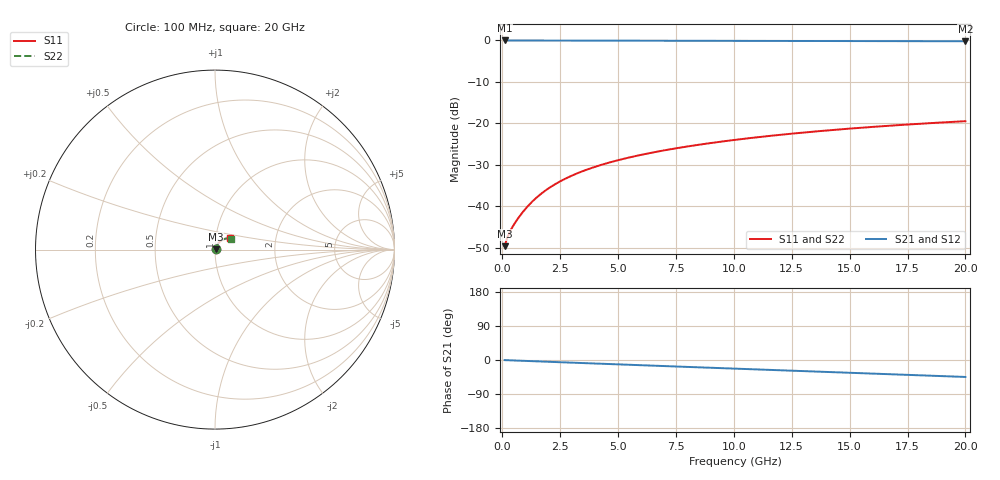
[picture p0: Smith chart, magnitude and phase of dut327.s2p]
! Touchstone file exported from HFSS 2026.1.0
!  File:  C:/ffzhzh/LocalFiles/Ansys_Project_Files/temp_train_BSMRDL_327_1783010943_55676.aedt
!  Generated:  12:50:25 AM Jul  3, 2026
!  Design:  BSMRDL
!  Project:  temp_train_BSMRDL_327_1783010943_55676
! Variables:
!  h_bsmrdl = 5.48um
!  h_ox = 20um
!  h_rdl = 5um
!  h_sub = 80um
!  h_tmrdl = 5um
!  h_tsv = 80um
!  h_via = 3um
!  l_bsmrdl = 803.99um
!  l_sub = 1203.99um
!  l_tmrdl = 200um
!  m_sub = 200um
!  pitch = 25.64um
!  r_tsv = 6um
!  s_tmrdl = 10um
!  w_bsmrdl = 18.4um
!  w_sub = 500um
!  w_tmrdl = 12um
!  x_tsv_center1 = 206um
!  x_tsv_center2 = 1028.39um
!  x_tsv_center3 = 1240.39um
!  x_tsv_center4 = 2062.78um
!  x_tsv_center5 = 2274.78um
!  x_tsv_center6 = 3097.17um
# GHz S MA R 50.000000
! Terminal data exported
! Port[1] = BSM_RDL1_1_T1
! Port[2] = BSM_RDL1_1_T2
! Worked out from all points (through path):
!   200 points, 100 MHz to 20 GHz, reference 50 ohm
!   highest |S21| = -0.03 dB at 100 MHz (marker M1); lowest = -0.2 dB at 20 GHz (marker M2)
!   group delay of S21, straight-line fit = 6.18 ps
!   lowest |S11| = -49.6 dB at 100 MHz (marker M3), VSWR 1.01, Z = 50.3 + j0.125 ohm
!   |S11| at or under -10 dB: start of sweep to end of sweep
!   |S22| runs from -49.6 to -19.5 dB; largest |S21 - S12| = 2.2e-15
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0.1  0.003306 22.0  0.9969 -0.3  0.9969 -0.3  0.003306 22.0
! Gamma 0 0 0 0
! Port Impedance 50 0 50 0
0.2  0.004069 32.6  0.9966 -0.5  0.9966 -0.5  0.004069 32.6
0.3  0.004758 38.6  0.9963 -0.7  0.9963 -0.7  0.004758 38.6
0.5  0.006003 47.0  0.996 -1.2  0.996 -1.2  0.006003 47.0
0.7  0.007277 53.1  0.9958 -1.7  0.9958 -1.7  0.007278 53.1
0.9  0.008621 57.4  0.9956 -2.1  0.9956 -2.1  0.008622 57.4
1.3  0.01144 62.5  0.9952 -3.1  0.9952 -3.1  0.01144 62.5
1.5  0.01288 63.9  0.995 -3.5  0.995 -3.5  0.01288 63.9
1.8  0.01504 65.2  0.9946 -4.2  0.9946 -4.2  0.01504 65.2
2.3  0.01859 66.1  0.9939 -5.4  0.9939 -5.4  0.01859 66.1
2.9  0.02272 66.1  0.9931 -6.8  0.9931 -6.8  0.02272 66.1
3.5  0.02668 65.5  0.9922 -8.2  0.9922 -8.2  0.02669 65.5
4.2  0.0311 64.6  0.9911 -9.7  0.9911 -9.7  0.03111 64.5
5  0.03594 63.3  0.9899 -11.6  0.9899 -11.6  0.03595 63.2
5.9  0.04114 61.8  0.9887 -13.6  0.9887 -13.6  0.04116 61.7
6.8  0.04617 60.3  0.9876 -15.6  0.9876 -15.6  0.04619 60.2
8.3  0.05421 57.8  0.9859 -18.9  0.9859 -18.9  0.05424 57.6
10.1  0.06342 54.6  0.984 -22.9  0.984 -22.9  0.06346 54.4
11.7  0.07125 51.7  0.9824 -26.5  0.9824 -26.5  0.0713 51.4
13.4  0.0792 48.5  0.9807 -30.2  0.9807 -30.2  0.07926 48.2
16.7  0.09348 42.2  0.9778 -37.5  0.9778 -37.5  0.09357 41.9
20  0.1061 35.8  0.975 -44.7  0.975 -44.7  0.1062 35.3
